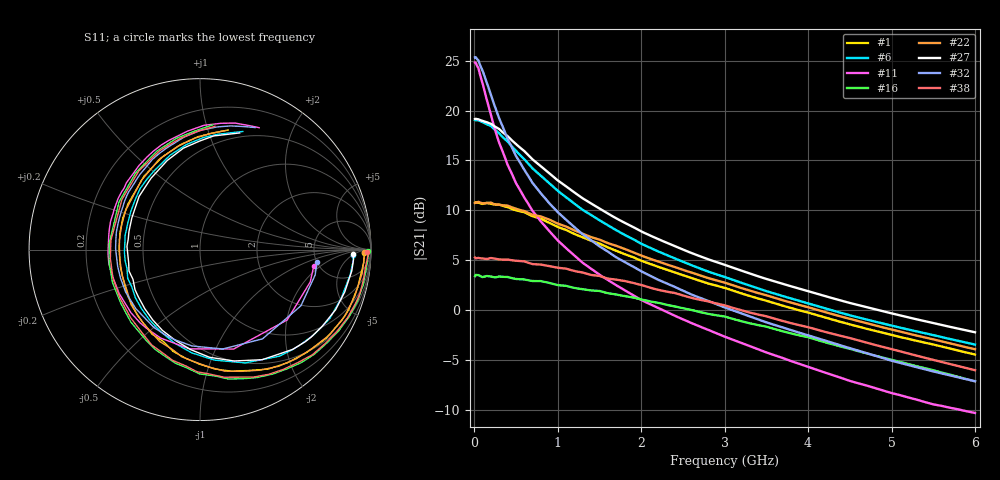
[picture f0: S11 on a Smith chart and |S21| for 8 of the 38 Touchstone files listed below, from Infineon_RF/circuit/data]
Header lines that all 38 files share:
! Infineon Technologies  Discrete & RF Semiconductors
! BFP181
! Common Emitter S-Parameters:  Jan 2016
# GHz  S  MA  R  50
!  f  S11  S21  S12  S22
! GHz  MAG  ANG  MAG  ANG  MAG  ANG  MAG  ANG
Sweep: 10 MHz to 6 GHz
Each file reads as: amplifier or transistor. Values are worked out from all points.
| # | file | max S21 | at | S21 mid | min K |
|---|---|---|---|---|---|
| 1 | BFP181_VCE_0.50V_IC_1.0mA.s2p | 10.8 dB | 20 MHz | 6.6 dB at 1.52 GHz | 0.02 |
| 2 | BFP181_VCE_0.50V_IC_1.2mA.s2p | 12.3 dB | 20 MHz | 7.3 dB at 1.52 GHz | -0.03 |
| 3 | BFP181_VCE_0.50V_IC_1.5mA.s2p | 14.0 dB | 20 MHz | 8.0 dB at 1.52 GHz | 0.03 |
| 4 | BFP181_VCE_0.50V_IC_2.0mA.s2p | 16.2 dB | 50 MHz | 8.7 dB at 1.52 GHz | 0.01 |
| 5 | BFP181_VCE_0.50V_IC_2.5mA.s2p | 17.8 dB | 20 MHz | 8.9 dB at 1.52 GHz | 0.00 |
| 6 | BFP181_VCE_0.50V_IC_3.0mA.s2p | 19.1 dB | 10 MHz | 8.9 dB at 1.52 GHz | 0.05 |
| 7 | BFP181_VCE_0.50V_IC_4.0mA.s2p | 20.9 dB | 20 MHz | 8.3 dB at 1.52 GHz | 0.08 |
| 8 | BFP181_VCE_0.50V_IC_5.0mA.s2p | 22.1 dB | 10 MHz | 7.4 dB at 1.52 GHz | 0.14 |
| 9 | BFP181_VCE_0.50V_IC_6.0mA.s2p | 23.0 dB | 10 MHz | 6.5 dB at 1.52 GHz | 0.18 |
| 10 | BFP181_VCE_0.50V_IC_8.0mA.s2p | 24.1 dB | 10 MHz | 4.8 dB at 1.52 GHz | 0.28 |
| 11 | BFP181_VCE_0.50V_IC_10mA.s2p | 24.8 dB | 10 MHz | 3.5 dB at 1.52 GHz | 0.38 |
| 12 | BFP181_VCE_0.50V_IC_12mA.s2p | 25.2 dB | 10 MHz | 2.4 dB at 1.52 GHz | 0.46 |
| 13 | BFP181_VCE_0.50V_IC_15mA.s2p | 25.6 dB | 10 MHz | 1.0 dB at 1.52 GHz | 0.55 |
| 14 | BFP181_VCE_0.50V_IC_17mA.s2p | 25.7 dB | 10 MHz | 0.2 dB at 1.52 GHz | 0.61 |
| 15 | BFP181_VCE_0.50V_IC_20mA.s2p | 25.8 dB | 10 MHz | -0.8 dB at 1.52 GHz | 0.70 |
| 16 | BFP181_VCE_0.50V_IC_40mA.s2p | 3.5 dB | 20 MHz | 1.9 dB at 1.52 GHz | 0.01 |
| 17 | BFP181_VCE_0.50V_IC_50mA.s2p | 5.3 dB | 20 MHz | 3.2 dB at 1.52 GHz | -0.03 |
| 18 | BFP181_VCE_0.50V_IC_60mA.s2p | 6.7 dB | 10 MHz | 4.1 dB at 1.52 GHz | 0.00 |
| 19 | BFP181_VCE_0.50V_IC_70mA.s2p | 8.0 dB | 50 MHz | 4.9 dB at 1.52 GHz | 0.01 |
| 20 | BFP181_VCE_0.50V_IC_80mA.s2p | 9.1 dB | 45 MHz | 5.6 dB at 1.52 GHz | -0.01 |
| 21 | BFP181_VCE_0.50V_IC_90mA.s2p | 10.0 dB | 20 MHz | 6.2 dB at 1.52 GHz | -0.01 |
| 22 | BFP181_VCE_0.75V_IC_1.0mA.s2p | 10.9 dB | 50 MHz | 7.0 dB at 1.52 GHz | -0.02 |
| 23 | BFP181_VCE_0.75V_IC_1.2mA.s2p | 12.3 dB | 50 MHz | 7.8 dB at 1.52 GHz | -0.03 |
| 24 | BFP181_VCE_0.75V_IC_1.5mA.s2p | 14.0 dB | 50 MHz | 8.6 dB at 1.52 GHz | 0.00 |
| 25 | BFP181_VCE_0.75V_IC_2.0mA.s2p | 16.2 dB | 20 MHz | 9.4 dB at 1.52 GHz | 0.03 |
| 26 | BFP181_VCE_0.75V_IC_2.5mA.s2p | 17.9 dB | 50 MHz | 9.8 dB at 1.52 GHz | 0.02 |
| 27 | BFP181_VCE_0.75V_IC_3.0mA.s2p | 19.2 dB | 20 MHz | 10.1 dB at 1.52 GHz | 0.04 |
| 28 | BFP181_VCE_0.75V_IC_4.0mA.s2p | 21.1 dB | 20 MHz | 10.1 dB at 1.52 GHz | 0.08 |
| 29 | BFP181_VCE_0.75V_IC_5.0mA.s2p | 22.5 dB | 20 MHz | 9.8 dB at 1.52 GHz | 0.08 |
| 30 | BFP181_VCE_0.75V_IC_6.0mA.s2p | 23.4 dB | 20 MHz | 9.2 dB at 1.52 GHz | 0.13 |
| 31 | BFP181_VCE_0.75V_IC_8.0mA.s2p | 24.6 dB | 20 MHz | 7.7 dB at 1.52 GHz | 0.23 |
| 32 | BFP181_VCE_0.75V_IC_10mA.s2p | 25.3 dB | 20 MHz | 6.3 dB at 1.52 GHz | 0.31 |
| 33 | BFP181_VCE_0.75V_IC_12mA.s2p | 25.8 dB | 10 MHz | 5.2 dB at 1.52 GHz | 0.42 |
| 34 | BFP181_VCE_0.75V_IC_15mA.s2p | 26.2 dB | 10 MHz | 3.8 dB at 1.52 GHz | 0.54 |
| 35 | BFP181_VCE_0.75V_IC_17mA.s2p | 26.4 dB | 10 MHz | 3.0 dB at 1.52 GHz | 0.61 |
| 36 | BFP181_VCE_0.75V_IC_20mA.s2p | 26.5 dB | 10 MHz | 2.0 dB at 1.52 GHz | 0.70 |
| 37 | BFP181_VCE_0.75V_IC_40mA.s2p | 3.6 dB | 20 MHz | 2.1 dB at 1.52 GHz | 0.01 |
| 38 | BFP181_VCE_0.75V_IC_50mA.s2p | 5.3 dB | 10 MHz | 3.4 dB at 1.52 GHz | -0.02 |

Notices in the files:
TP2/Simulaciones/Example_wrk/Infineon_RF/circuit/data/BFP181_VCE_0.50V_IC_1.0mA.s2p:
(c) 2016  Infineon Technologies AG, Munich
